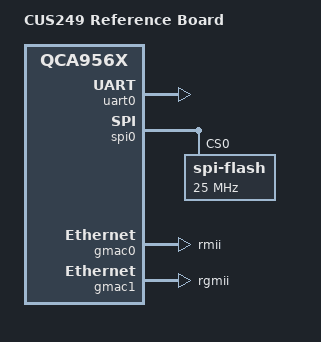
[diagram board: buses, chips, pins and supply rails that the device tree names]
// SPDX-License-Identifier: GPL-2.0+
/*
 * Copyright (c) 2014 Qualcomm Atheros, Inc.
 * Copyright (C) 2026 Yuzhii0718 <admin@yuzhii0718.eu.org>
 *
 * CUS249 Reference Board (QCA956X + S27 internal switch)
 * - GE0: RMII WAN
 * - GE1: RGMII LAN with S27 internal switch
 * - No PCI, No USB
 */

/dts-v1/;
#include "qca956x.dtsi"

/ {
	model = "CUS249 Reference Board";
	compatible = "qca,cus249", "qca,qca956x";

	aliases {
		spi0 = &spi0;
		serial0 = &uart0;
	};

	chosen {
		stdout-path = "serial0:115200n8";
	};
};

&xtal {
	clock-frequency = <25000000>;
};

&uart0 {
	clock-frequency = <25000000>;
	status = "okay";
};

&spi0 {
	spi-max-frequency = <25000000>;
	status = "okay";
	spi-flash@0 {
		#address-cells = <1>;
		#size-cells = <1>;
		compatible = "spi-flash";
		memory-map = <0x9f000000 0x01000000>;
		spi-max-frequency = <25000000>;
		reg = <0>;
	};
};

/* WAN: RMII on GE0 */
&gmac0 {
	phy-mode = "rmii";
	status = "okay";
};

/* LAN: RGMII with internal S27 switch on GE1 */
&gmac1 {
	phy-mode = "rgmii";
	status = "okay";
};
